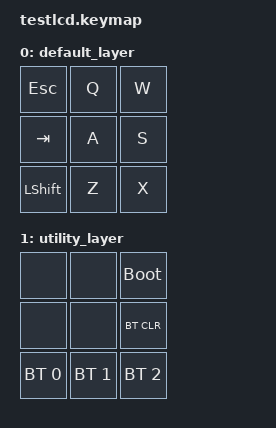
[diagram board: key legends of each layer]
#include <behaviors.dtsi>
#include <dt-bindings/zmk/keys.h>
#include <dt-bindings/zmk/bt.h>

/ {
    keymap {
        compatible = "zmk,keymap";

        default_layer {
            bindings = <
                &kp ESC    &kp Q     &kp W
                &kp TAB    &kp A     &kp S
                &kp LSHIFT &kp Z     &kp X
            >;
        };
        utility_layer {
            bindings = <
                &none           &none           &bootloader
                &none           &none           &bt BT_CLR
                &bt BT_SEL 0    &bt BT_SEL 1    &bt BT_SEL 2
        
            >;
        };
    };
};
